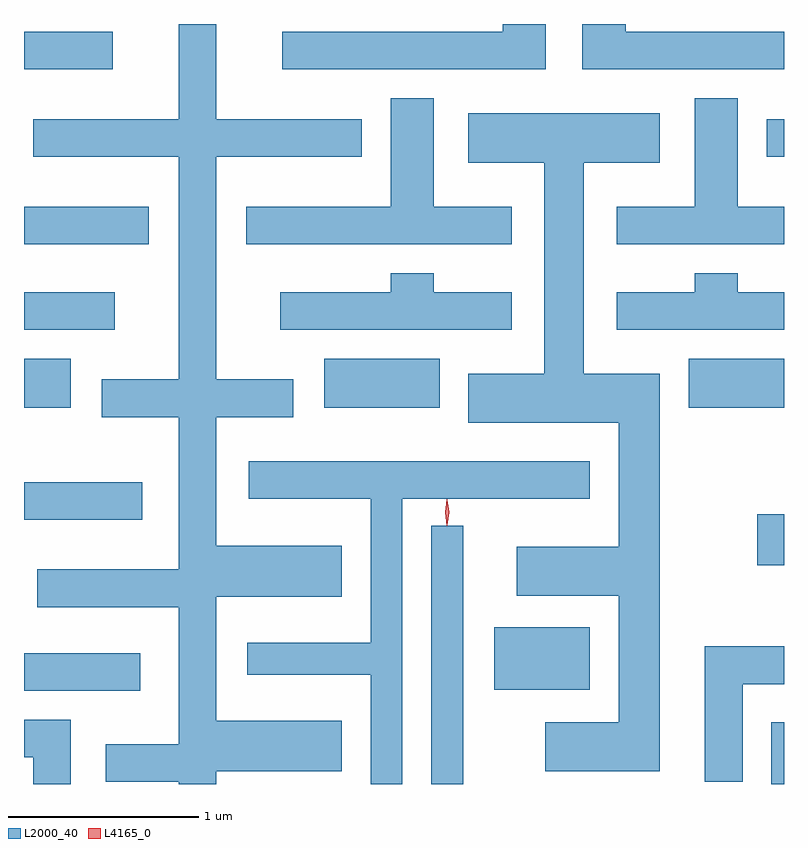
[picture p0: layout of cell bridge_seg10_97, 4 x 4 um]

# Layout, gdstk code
import gdstk
lib = gdstk.Library(unit=1e-6, precision=1e-09)
def R(c, l, rs):  # rectangles x0, y0, x1, y1
    for r in rs: c.add(gdstk.rectangle(r[:2], r[2:], *l))
def P(c, l, *ps):  # polygons
    for p in ps: c.add(gdstk.Polygon(p, *l))
L2000_40 = (2000, 40)
L4165_0 = (4165, 0)

bridge_seg10_97 = lib.new_cell('bridge_seg10_97')
R(bridge_seg10_97, L2000_40, [(1673.361,2140.815,1673.529,2142.173), (1675.151,2140.815,1675.217,2141.139), (1671.217,2141.306,1671.829,2141.504), (1673.691,2141.311,1674.194,2141.639), (1675.076,2141.966,1675.217,2142.234), (1671.217,2142.206,1671.839,2142.404), (1671.217,2142.796,1671.464,2143.054), (1672.796,2142.796,1673.404,2143.054), (1674.716,2142.796,1675.217,2143.054), (1671.217,2143.206,1671.694,2143.404), (1671.217,2143.656,1671.874,2143.854), (1675.126,2144.116,1675.217,2144.314), (1671.217,2144.576,1671.684,2144.774)])
P(bridge_seg10_97, L2000_40, [(1673.964,2144.815),(1673.736,2144.815),(1673.736,2144.774),(1672.576,2144.774),(1672.576,2144.576),(1673.964,2144.576)],
  [(1675.217,2144.774),(1674.384,2144.774),(1674.384,2144.815),(1674.156,2144.815),(1674.156,2144.576),(1675.217,2144.576)],
  [(1671.286,2141.944),(1671.286,2141.746),(1672.031,2141.746),(1672.031,2141.024),(1671.646,2141.024),(1671.646,2140.826),(1672.031,2140.826),(1672.031,2140.815),(1672.229,2140.815),(1672.229,2140.881),(1672.889,2140.881),(1672.889,2141.149),(1672.229,2141.149),(1672.229,2141.801),(1672.889,2141.801),(1672.889,2142.069),(1672.229,2142.069),(1672.229,2142.746),(1672.634,2142.746),(1672.634,2142.944),(1672.229,2142.944),(1672.229,2144.116),(1672.994,2144.116),(1672.994,2144.314),(1672.229,2144.314),(1672.229,2144.815),(1672.031,2144.815),(1672.031,2144.314),(1671.266,2144.314),(1671.266,2144.116),(1672.031,2144.116),(1672.031,2142.944),(1671.626,2142.944),(1671.626,2142.746),(1672.031,2142.746),(1672.031,2141.944)],
  [(1675.217,2143.854),(1674.974,2143.854),(1674.974,2144.424),(1674.746,2144.424),(1674.746,2143.854),(1674.336,2143.854),(1674.336,2143.656),(1675.217,2143.656)],
  [(1673.784,2143.854),(1673.374,2143.854),(1673.374,2144.424),(1673.146,2144.424),(1673.146,2143.854),(1672.386,2143.854),(1672.386,2143.656),(1673.784,2143.656)],
  [(1674.564,2142.974),(1674.164,2142.974),(1674.164,2144.086),(1674.564,2144.086),(1674.564,2144.344),(1673.556,2144.344),(1673.556,2144.086),(1673.956,2144.086),(1673.956,2142.974),(1673.556,2142.974),(1673.556,2142.716),(1674.346,2142.716),(1674.346,2142.064),(1673.811,2142.064),(1673.811,2141.806),(1674.346,2141.806),(1674.346,2141.139),(1673.961,2141.139),(1673.961,2140.881),(1674.564,2140.881)],
  [(1673.784,2143.404),(1673.374,2143.404),(1673.374,2143.504),(1673.146,2143.504),(1673.146,2143.404),(1672.566,2143.404),(1672.566,2143.206),(1673.784,2143.206)],
  [(1675.217,2143.404),(1674.974,2143.404),(1674.974,2143.504),(1674.746,2143.504),(1674.746,2143.404),(1674.336,2143.404),(1674.336,2143.206),(1675.217,2143.206)],
  [(1673.209,2142.316),(1674.194,2142.316),(1674.194,2142.514),(1672.401,2142.514),(1672.401,2142.316),(1673.041,2142.316),(1673.041,2141.559),(1672.393,2141.559),(1672.393,2141.391),(1673.041,2141.391),(1673.041,2140.815),(1673.209,2140.815)],
  [(1674.999,2141.341),(1675.217,2141.341),(1675.217,2141.539),(1674.801,2141.539),(1674.801,2140.826),(1674.999,2140.826)],
  [(1671.464,2141.154),(1671.217,2141.154),(1671.217,2140.956),(1671.266,2140.956),(1671.266,2140.815),(1671.464,2140.815)])
P(bridge_seg10_97, L4165_0, [(1673.443,2142.174),(1673.442,2142.175),(1673.433,2142.244),(1673.442,2142.313),(1673.443,2142.314),(1673.444,2142.313),(1673.453,2142.244),(1673.444,2142.175)],
  [(1673.444,2142.178),(1673.435,2142.244),(1673.444,2142.311),(1673.445,2142.311),(1673.445,2142.311),(1673.455,2142.244),(1673.445,2142.178),(1673.445,2142.178)])

lib.write_gds('bridge_seg10_97.gds')
